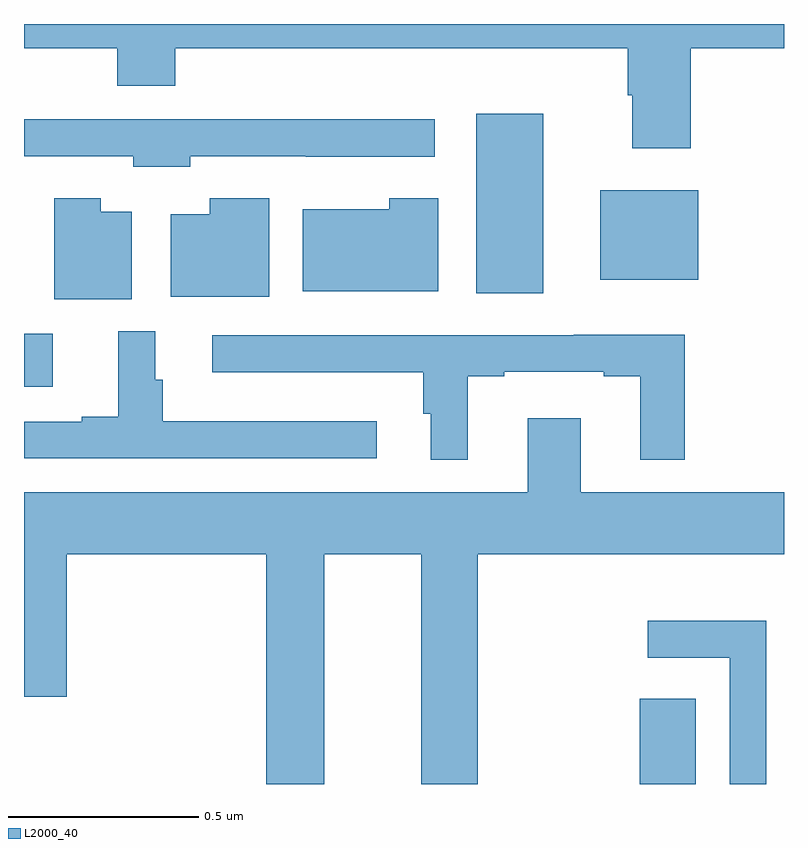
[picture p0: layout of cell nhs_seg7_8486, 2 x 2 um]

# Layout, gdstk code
import gdstk
lib = gdstk.Library(unit=1e-6, precision=1e-09)
def R(c, l, rs):  # rectangles x0, y0, x1, y1
    for r in rs: c.add(gdstk.rectangle(r[:2], r[2:], *l))
def P(c, l, *ps):  # polygons
    for p in ps: c.add(gdstk.Polygon(p, *l))
L2000_40 = (2000, 40)

nhs_seg7_8486 = lib.new_cell('nhs_seg7_8486')
R(nhs_seg7_8486, L2000_40, [(226.621,1012,226.768,1012.225), (225,1013.045,225.076,1013.185), (226.19,1013.291,226.366,1013.764), (226.517,1013.327,226.774,1013.563)])
P(nhs_seg7_8486, L2000_40, [(225,1013.936),(225.245,1013.936),(225.245,1013.837),(225.398,1013.837),(225.398,1013.936),(226.589,1013.936),(226.589,1013.813),(226.601,1013.813),(226.601,1013.673),(226.754,1013.673),(226.754,1013.936),(227,1013.936),(227,1014),(225,1014)],
  [(225.438,1013.652),(225.742,1013.652),(225.742,1013.651),(226.081,1013.651),(226.081,1013.75),(225,1013.75),(225,1013.652),(225.288,1013.652),(225.288,1013.624),(225.438,1013.624)],
  [(226.09,1013.542),(225.961,1013.542),(225.961,1013.512),(225.734,1013.512),(225.734,1013.297),(226.09,1013.297)],
  [(225.283,1013.506),(225.202,1013.506),(225.202,1013.542),(225.08,1013.542),(225.08,1013.276),(225.283,1013.276)],
  [(225.646,1013.542),(225.489,1013.542),(225.489,1013.5),(225.386,1013.5),(225.386,1013.282),(225.646,1013.282)],
  [(225.928,1012.954),(225.365,1012.954),(225.365,1013.064),(225.346,1013.064),(225.346,1013.191),(225.248,1013.191),(225.248,1012.966),(225.152,1012.966),(225.152,1012.953),(225,1012.953),(225,1012.857),(225.928,1012.857)],
  [(226.168,1013.073),(226.264,1013.073),(226.264,1013.085),(226.526,1013.085),(226.526,1013.073),(226.622,1013.073),(226.622,1012.853),(226.739,1012.853),(226.739,1013.182),(226.447,1013.182),(226.447,1013.181),(225.495,1013.181),(225.495,1013.084),(226.051,1013.084),(226.051,1012.974),(226.07,1012.974),(226.07,1012.853),(226.168,1012.853)],
  [(225.79,1012.604),(226.046,1012.604),(226.046,1012),(226.194,1012),(226.194,1012.604),(227,1012.604),(227,1012.768),(226.465,1012.768),(226.465,1012.963),(226.325,1012.963),(226.325,1012.768),(225,1012.768),(225,1012.23),(225.112,1012.23),(225.112,1012.604),(225.638,1012.604),(225.638,1012),(225.79,1012)],
  [(226.953,1012.429),(226.641,1012.429),(226.641,1012.332),(226.857,1012.332),(226.857,1012),(226.953,1012)])

lib.write_gds('nhs_seg7_8486.gds')
